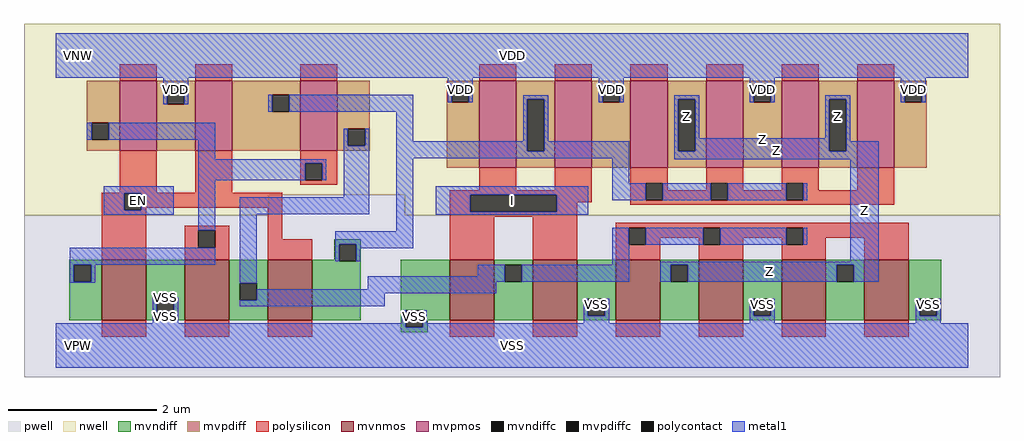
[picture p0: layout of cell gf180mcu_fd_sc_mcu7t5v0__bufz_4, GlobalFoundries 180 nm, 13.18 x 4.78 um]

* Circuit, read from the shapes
.subckt gf180mcu_fd_sc_mcu7t5v0__bufz_4 EN I Z VDD VNW VPW VSS
XM1 VSS EN n1 VPW nfet_06v0 w=0.82u l=0.6u
XM2 n2 n1 VSS VPW nfet_06v0 w=0.82u l=0.6u
XM3 n3 EN n2 VPW nfet_06v0 w=0.82u l=0.6u
XM4 n2 I VSS VPW nfet_06v0 w=0.82u l=0.6u m=2
XM5 Z n2 VSS VPW nfet_06v0 w=0.82u l=0.6u m=4
XM6 VDD EN n1 VNW pfet_06v0 w=0.945u l=0.5u
XM7 n3 EN VDD VNW pfet_06v0 w=0.945u l=0.5u
XM8 n2 n1 n3 VNW pfet_06v0 w=0.945u l=0.5u
XM9 n3 I VDD VNW pfet_06v0 w=1.175u l=0.5u m=2
XM10 Z n3 VDD VNW pfet_06v0 w=1.175u l=0.5u m=4
.ends

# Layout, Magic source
magic
tech gf180mcuD
magscale 1 10
<< nwell >>
rect -86 407 2550 870
rect -86 352 575 407
rect 943 352 2550 407
<< pwell >>
rect 575 352 943 407
rect -86 -86 2550 352
<< mvnmos >>
rect 124 68 244 232
rect 348 68 468 232
rect 572 68 692 232
rect 1064 68 1184 232
rect 1288 68 1408 232
rect 1512 68 1632 232
rect 1736 68 1856 232
rect 1960 68 2080 232
rect 2184 68 2304 232
<< mvpmos >>
rect 172 527 272 716
rect 376 527 476 716
rect 660 527 760 716
rect 1144 481 1244 716
rect 1348 481 1448 716
rect 1552 481 1652 716
rect 1756 481 1856 716
rect 1960 481 2060 716
rect 2164 481 2264 716
<< mvndiff >>
rect 752 274 824 287
rect 752 232 765 274
rect 36 219 124 232
rect 36 173 49 219
rect 95 173 124 219
rect 36 68 124 173
rect 244 128 348 232
rect 244 82 273 128
rect 319 82 348 128
rect 244 68 348 82
rect 468 169 572 232
rect 468 123 497 169
rect 543 123 572 169
rect 468 68 572 123
rect 692 228 765 232
rect 811 228 824 274
rect 692 68 824 228
rect 932 95 1064 232
rect 932 49 945 95
rect 991 68 1064 95
rect 1184 219 1288 232
rect 1184 173 1213 219
rect 1259 173 1288 219
rect 1184 68 1288 173
rect 1408 127 1512 232
rect 1408 81 1437 127
rect 1483 81 1512 127
rect 1408 68 1512 81
rect 1632 219 1736 232
rect 1632 173 1661 219
rect 1707 173 1736 219
rect 1632 68 1736 173
rect 1856 127 1960 232
rect 1856 81 1885 127
rect 1931 81 1960 127
rect 1856 68 1960 81
rect 2080 219 2184 232
rect 2080 173 2109 219
rect 2155 173 2184 219
rect 2080 68 2184 173
rect 2304 127 2392 232
rect 2304 81 2333 127
rect 2379 81 2392 127
rect 2304 68 2392 81
rect 991 49 1004 68
rect 932 36 1004 49
<< mvpdiff >>
rect 84 602 172 716
rect 84 556 97 602
rect 143 556 172 602
rect 84 527 172 556
rect 272 698 376 716
rect 272 652 301 698
rect 347 652 376 698
rect 272 527 376 652
rect 476 678 660 716
rect 476 632 585 678
rect 631 632 660 678
rect 476 527 660 632
rect 760 586 848 716
rect 760 540 789 586
rect 835 540 848 586
rect 760 527 848 540
rect 1056 703 1144 716
rect 1056 657 1069 703
rect 1115 657 1144 703
rect 1056 481 1144 657
rect 1244 665 1348 716
rect 1244 525 1273 665
rect 1319 525 1348 665
rect 1244 481 1348 525
rect 1448 703 1552 716
rect 1448 657 1477 703
rect 1523 657 1552 703
rect 1448 481 1552 657
rect 1652 665 1756 716
rect 1652 525 1681 665
rect 1727 525 1756 665
rect 1652 481 1756 525
rect 1856 703 1960 716
rect 1856 657 1885 703
rect 1931 657 1960 703
rect 1856 481 1960 657
rect 2060 665 2164 716
rect 2060 525 2089 665
rect 2135 525 2164 665
rect 2060 481 2164 525
rect 2264 703 2352 716
rect 2264 657 2293 703
rect 2339 657 2352 703
rect 2264 481 2352 657
<< mvndiffc >>
rect 49 173 95 219
rect 273 82 319 128
rect 497 123 543 169
rect 765 228 811 274
rect 945 49 991 95
rect 1213 173 1259 219
rect 1437 81 1483 127
rect 1661 173 1707 219
rect 1885 81 1931 127
rect 2109 173 2155 219
rect 2333 81 2379 127
<< mvpdiffc >>
rect 97 556 143 602
rect 301 652 347 698
rect 585 632 631 678
rect 789 540 835 586
rect 1069 657 1115 703
rect 1273 525 1319 665
rect 1477 657 1523 703
rect 1681 525 1727 665
rect 1885 657 1931 703
rect 2089 525 2135 665
rect 2293 657 2339 703
<< polysilicon >>
rect 172 716 272 760
rect 376 716 476 760
rect 660 716 760 760
rect 1144 716 1244 760
rect 1348 716 1448 760
rect 1552 716 1652 760
rect 1756 716 1856 760
rect 1960 716 2060 760
rect 2164 716 2264 760
rect 172 413 272 527
rect 376 413 476 527
rect 660 493 760 527
rect 660 447 673 493
rect 719 447 760 493
rect 660 434 760 447
rect 1144 420 1244 481
rect 1348 420 1448 481
rect 124 412 612 413
rect 124 366 185 412
rect 231 373 612 412
rect 231 366 244 373
rect 124 232 244 366
rect 348 311 468 324
rect 348 265 385 311
rect 431 265 468 311
rect 348 232 468 265
rect 572 288 612 373
rect 1064 407 1448 420
rect 1064 361 1119 407
rect 1353 387 1448 407
rect 1552 439 1652 481
rect 1552 393 1593 439
rect 1639 420 1652 439
rect 1756 439 1856 481
rect 1756 420 1769 439
rect 1639 393 1769 420
rect 1815 420 1856 439
rect 1960 439 2060 481
rect 1960 420 1973 439
rect 1815 393 1973 420
rect 2019 420 2060 439
rect 2164 420 2264 481
rect 2019 393 2264 420
rect 1353 361 1408 387
rect 1552 380 2264 393
rect 1064 348 1408 361
rect 572 232 692 288
rect 1064 232 1184 348
rect 1288 232 1408 348
rect 1512 319 2304 332
rect 1512 273 1547 319
rect 1593 292 1749 319
rect 1593 273 1632 292
rect 1512 232 1632 273
rect 1736 273 1749 292
rect 1795 292 1973 319
rect 1795 273 1856 292
rect 1736 232 1856 273
rect 1960 273 1973 292
rect 2019 292 2304 319
rect 2019 273 2080 292
rect 1960 232 2080 273
rect 2184 232 2304 292
rect 124 24 244 68
rect 348 24 468 68
rect 572 24 692 68
rect 1064 24 1184 68
rect 1288 24 1408 68
rect 1512 24 1632 68
rect 1736 24 1856 68
rect 1960 24 2080 68
rect 2184 24 2304 68
<< polycontact >>
rect 673 447 719 493
rect 185 366 231 412
rect 385 265 431 311
rect 1119 361 1353 407
rect 1593 393 1639 439
rect 1769 393 1815 439
rect 1973 393 2019 439
rect 1547 273 1593 319
rect 1749 273 1795 319
rect 1973 273 2019 319
<< metal1 >>
rect 0 724 2464 844
rect 290 698 358 724
rect 290 652 301 698
rect 347 652 358 698
rect 1058 703 1126 724
rect 574 632 585 678
rect 631 632 965 678
rect 1058 657 1069 703
rect 1115 657 1126 703
rect 1466 703 1534 724
rect 1262 665 1330 676
rect 84 556 97 602
rect 143 556 431 602
rect 385 504 431 556
rect 778 540 789 586
rect 835 540 846 586
rect 385 493 730 504
rect 385 447 673 493
rect 719 447 730 493
rect 130 412 318 430
rect 130 366 185 412
rect 231 366 318 412
rect 130 354 318 366
rect 385 311 431 447
rect 778 401 846 540
rect 38 219 431 265
rect 497 355 846 401
rect 919 552 965 632
rect 1262 552 1273 665
rect 919 525 1273 552
rect 1319 552 1330 665
rect 1466 657 1477 703
rect 1523 657 1534 703
rect 1874 703 1942 724
rect 1670 665 1738 676
rect 1319 525 1549 552
rect 919 506 1549 525
rect 38 173 49 219
rect 95 173 106 219
rect 38 170 106 173
rect 497 169 543 355
rect 919 309 965 506
rect 1503 439 1549 506
rect 1670 525 1681 665
rect 1727 560 1738 665
rect 1874 657 1885 703
rect 1931 657 1942 703
rect 2282 703 2350 724
rect 2078 665 2146 676
rect 2078 560 2089 665
rect 1727 525 2089 560
rect 2135 552 2146 665
rect 2282 657 2293 703
rect 2339 657 2350 703
rect 2135 525 2222 552
rect 1670 504 2222 525
rect 1026 407 1438 430
rect 1026 361 1119 407
rect 1353 361 1438 407
rect 1503 393 1593 439
rect 1639 393 1769 439
rect 1815 393 1973 439
rect 2019 393 2030 439
rect 1026 354 1438 361
rect 754 274 965 309
rect 754 228 765 274
rect 811 263 965 274
rect 1503 273 1547 319
rect 1593 273 1749 319
rect 1795 273 1973 319
rect 2019 273 2030 319
rect 811 228 822 263
rect 1503 219 1549 273
rect 2146 227 2222 504
rect 1139 187 1213 219
rect 262 128 330 131
rect 262 82 273 128
rect 319 82 330 128
rect 843 173 1213 187
rect 1259 173 1549 219
rect 1632 219 2222 227
rect 1632 173 1661 219
rect 1707 173 2109 219
rect 2155 173 2222 219
rect 843 152 1189 173
rect 543 141 1189 152
rect 543 123 888 141
rect 497 106 888 123
rect 262 60 330 82
rect 934 60 945 95
rect 0 49 945 60
rect 991 60 1002 95
rect 1426 81 1437 127
rect 1483 81 1494 127
rect 1426 60 1494 81
rect 1874 81 1885 127
rect 1931 81 1942 127
rect 1874 60 1942 81
rect 2322 81 2333 127
rect 2379 81 2390 127
rect 2322 60 2390 81
rect 991 49 2464 60
rect 0 -60 2464 49
<< labels >>
flabel metal1 s 2078 560 2146 676 0 FreeSans 400 0 0 0 Z
port 3 nsew default output
flabel metal1 s 130 354 318 430 0 FreeSans 600 0 0 0 EN
port 1 nsew default input
flabel metal1 s 1026 354 1438 430 0 FreeSans 400 0 0 0 I
port 2 nsew default input
flabel metal1 s 262 127 330 131 0 FreeSans 400 0 0 0 VSS
port 7 nsew ground bidirectional abutment
flabel metal1 s 0 724 2464 844 0 FreeSans 400 0 0 0 VDD
port 4 nsew power bidirectional abutment
flabel nwell s 10 734 110 834 0 FreeSans 400 0 0 0 VNW
port 5 nsew power bidirectional
flabel pwell s 10 -50 110 50 0 FreeSans 400 0 0 0 VPW
port 6 nsew ground bidirectional
rlabel metal1 s 1670 560 1738 676 1 Z
port 3 nsew default output
rlabel metal1 s 1670 552 2146 560 1 Z
port 3 nsew default output
rlabel metal1 s 1670 504 2222 552 1 Z
port 3 nsew default output
rlabel metal1 s 2146 227 2222 504 1 Z
port 3 nsew default output
rlabel metal1 s 1632 173 2222 227 1 Z
port 3 nsew default output
rlabel metal1 s 2282 657 2350 724 1 VDD
port 4 nsew power bidirectional abutment
rlabel metal1 s 1874 657 1942 724 1 VDD
port 4 nsew power bidirectional abutment
rlabel metal1 s 1466 657 1534 724 1 VDD
port 4 nsew power bidirectional abutment
rlabel metal1 s 1058 657 1126 724 1 VDD
port 4 nsew power bidirectional abutment
rlabel metal1 s 290 657 358 724 1 VDD
port 4 nsew power bidirectional abutment
rlabel metal1 s 290 652 358 657 1 VDD
port 4 nsew power bidirectional abutment
rlabel metal1 s 2322 95 2390 127 1 VSS
port 7 nsew ground bidirectional abutment
rlabel metal1 s 1874 95 1942 127 1 VSS
port 7 nsew ground bidirectional abutment
rlabel metal1 s 1426 95 1494 127 1 VSS
port 7 nsew ground bidirectional abutment
rlabel metal1 s 262 95 330 127 1 VSS
port 7 nsew ground bidirectional abutment
rlabel metal1 s 2322 60 2390 95 1 VSS
port 7 nsew ground bidirectional abutment
rlabel metal1 s 1874 60 1942 95 1 VSS
port 7 nsew ground bidirectional abutment
rlabel metal1 s 1426 60 1494 95 1 VSS
port 7 nsew ground bidirectional abutment
rlabel metal1 s 934 60 1002 95 1 VSS
port 7 nsew ground bidirectional abutment
rlabel metal1 s 262 60 330 95 1 VSS
port 7 nsew ground bidirectional abutment
rlabel metal1 s 0 -60 2464 60 1 VSS
port 7 nsew ground bidirectional abutment
<< properties >>
string FIXED_BBOX 0 0 2464 784
string GDS_END 1408856
string GDS_FILE $PDKPATH/libs.ref/gf180mcu_fd_sc_mcu7t5v0/gds/gf180mcu_fd_sc_mcu7t5v0.gds
string GDS_START 1402790
string LEFclass core
string LEFsite GF018hv5v_mcu_sc7
string LEFsymmetry X Y
<< end >>
